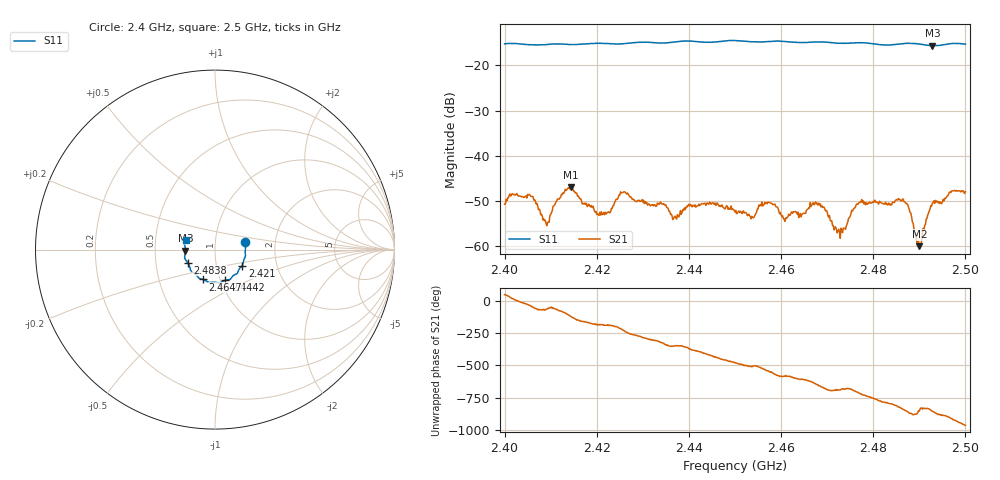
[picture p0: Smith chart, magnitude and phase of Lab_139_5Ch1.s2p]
# Hz S RI R 50
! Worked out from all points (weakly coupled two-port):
!   601 points, 2.4 GHz to 2.5 GHz, reference 50 ohm
!   highest |S21| = -46.95 dB at 2.4143 GHz (marker M1); lowest = -60.1 dB at 2.49 GHz (marker M2)
!   lowest |S11| = -15.6 dB at 2.4928 GHz (marker M3), VSWR 1.40, Z = 35.8 - j0.408 ohm
!   |S11| at or under -10 dB: start of sweep to end of sweep
!   S12 and S22 are empty: the file has one direction only
!   S11 on the Smith chart (normalised r, x): 2.4 GHz: 1.40, +0.12; 2.421 GHz: 1.33, -0.24; 2.4442 GHz: 1.05, -0.37; 2.4647 GHz: 0.83, -0.28; 2.4838 GHz: 0.73, -0.11; 2.5 GHz: 0.71, +0.08
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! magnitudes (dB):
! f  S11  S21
! 2.4 GHz  -15.2  -50.8
! 2.4057 GHz  -15.4  -49.0
! 2.4092 GHz  -15.4  -55.5
! 2.4143 GHz  -15.4  -46.9
! 2.4167 GHz  -15.3  -49.9
! 2.421 GHz  -15.1  -52.5
! 2.4257 GHz  -15.2  -48.2
! 2.4333 GHz  -15.0  -50.6
! 2.4368 GHz  -14.8  -53.6
! 2.4442 GHz  -14.9  -50.7
! 2.45 GHz  -14.5  -52.5
! 2.457 GHz  -14.7  -50.7
! 2.4647 GHz  -14.9  -52.9
! 2.4667 GHz  -14.8  -51.0
! 2.4727 GHz  -15.1  -56.9
! 2.477 GHz  -15.0  -50.3
! 2.4833 GHz  -15.5  -50.5
! 2.4838 GHz  -15.5  -51.0
! 2.487 GHz  -15.1  -50.4
! 2.49 GHz  -15.2  -60.1
! 2.4928 GHz  -15.6  -50.6
! 2.5 GHz  -15.3  -47.9
